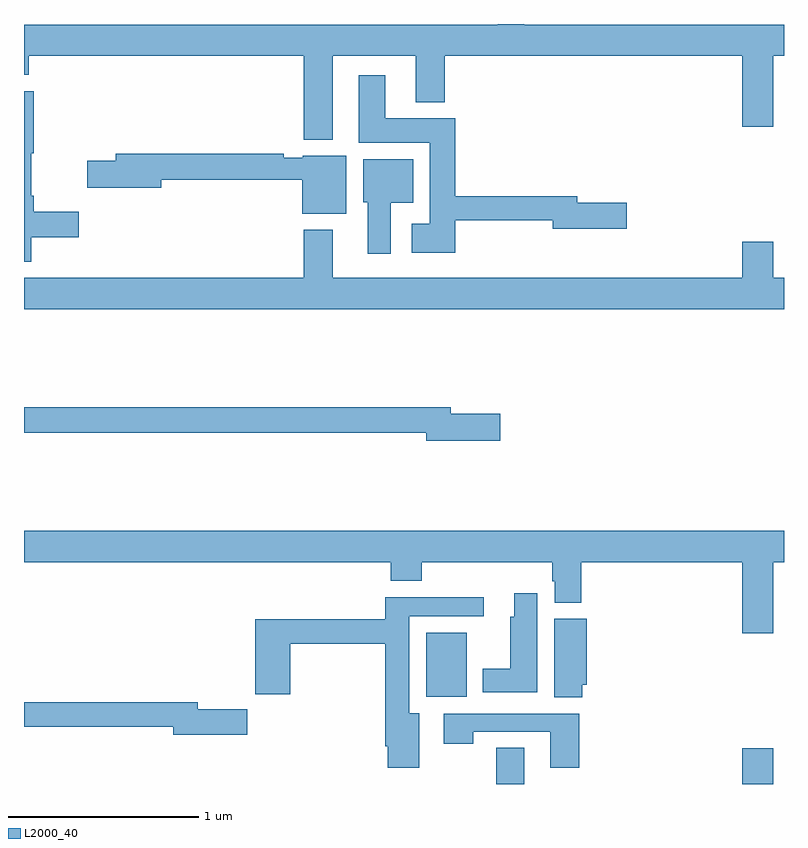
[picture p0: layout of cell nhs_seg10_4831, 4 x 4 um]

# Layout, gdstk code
import gdstk
lib = gdstk.Library(unit=1e-6, precision=1e-09)
def R(c, l, rs):  # rectangles x0, y0, x1, y1
    for r in rs: c.add(gdstk.rectangle(r[:2], r[2:], *l))
def P(c, l, *ps):  # polygons
    for p in ps: c.add(gdstk.Polygon(p, *l))
L2000_40 = (2000, 40)

nhs_seg10_4831 = lib.new_cell('nhs_seg10_4831')
R(nhs_seg10_4831, L2000_40, [(391.486,1280.5,391.633,1280.69), (392.78,1280.5,392.944,1280.689), (391.118,1280.96,391.33,1281.295)])
P(nhs_seg10_4831, L2000_40, [(390.625,1284.332),(391.061,1284.332),(391.061,1284.089),(391.214,1284.089),(391.214,1284.332),(392.78,1284.332),(392.78,1283.958),(392.944,1283.958),(392.944,1284.332),(393,1284.332),(393,1284.496),(391.633,1284.496),(391.633,1284.5),(391.494,1284.5),(391.494,1284.496),(389,1284.496),(389,1284.233),(389.024,1284.233),(389.024,1284.332),(390.473,1284.332),(390.473,1283.891),(390.625,1283.891)],
  [(391.271,1283.466),(391.784,1283.466),(391.784,1283.423),(392.173,1283.423),(392.173,1283.558),(391.912,1283.558),(391.912,1283.594),(391.271,1283.594),(391.271,1284.004),(390.901,1284.004),(390.901,1284.229),(390.761,1284.229),(390.761,1283.876),(391.136,1283.876),(391.136,1283.449),(391.041,1283.449),(391.041,1283.297),(391.271,1283.297)],
  [(389.038,1283.378),(389.287,1283.378),(389.287,1283.513),(389.051,1283.513),(389.051,1283.596),(389.038,1283.596),(389.038,1283.819),(389.051,1283.819),(389.051,1284.146),(389,1284.146),(389,1283.25),(389.038,1283.25)],
  [(390.697,1283.806),(390.468,1283.806),(390.468,1283.796),(390.368,1283.796),(390.368,1283.816),(389.483,1283.816),(389.483,1283.78),(389.334,1283.78),(389.334,1283.638),(389.722,1283.638),(389.722,1283.68),(390.464,1283.68),(390.464,1283.501),(390.697,1283.501)],
  [(390.931,1283.558),(391.048,1283.558),(391.048,1283.788),(390.785,1283.788),(390.785,1283.562),(390.809,1283.562),(390.809,1283.292),(390.931,1283.292)],
  [(393,1283.164),(392.944,1283.164),(392.944,1283.353),(392.78,1283.353),(392.78,1283.164),(390.625,1283.164),(390.625,1283.416),(390.473,1283.416),(390.473,1283.164),(389,1283.164),(389,1283),(393,1283)],
  [(391.507,1282.448),(391.246,1282.448),(391.246,1282.484),(389,1282.484),(389,1282.348),(391.118,1282.348),(391.118,1282.306),(391.507,1282.306)],
  [(392.944,1281.668),(393,1281.668),(393,1281.832),(389,1281.832),(389,1281.668),(390.929,1281.668),(390.929,1281.569),(391.094,1281.569),(391.094,1281.668),(391.781,1281.668),(391.781,1281.567),(391.793,1281.567),(391.793,1281.455),(391.934,1281.455),(391.934,1281.668),(392.78,1281.668),(392.78,1281.294),(392.944,1281.294)],
  [(391.702,1281.505),(391.58,1281.505),(391.58,1281.381),(391.559,1281.381),(391.559,1281.106),(391.415,1281.106),(391.415,1280.984),(391.702,1280.984)],
  [(391.081,1280.872),(391.027,1280.872),(391.027,1281.384),(391.42,1281.384),(391.42,1281.482),(390.902,1281.482),(390.902,1281.367),(390.218,1281.367),(390.218,1280.973),(390.401,1280.973),(390.401,1281.238),(390.902,1281.238),(390.902,1280.698),(390.914,1280.698),(390.914,1280.586),(391.081,1280.586)],
  [(391.937,1281.023),(391.963,1281.023),(391.963,1281.37),(391.79,1281.37),(391.79,1280.956),(391.937,1280.956)],
  [(390.175,1280.894),(389.914,1280.894),(389.914,1280.93),(389,1280.93),(389,1280.802),(389.786,1280.802),(389.786,1280.759),(390.175,1280.759)],
  [(391.922,1280.871),(391.209,1280.871),(391.209,1280.712),(391.365,1280.712),(391.365,1280.775),(391.769,1280.775),(391.769,1280.586),(391.922,1280.586)])

lib.write_gds('nhs_seg10_4831.gds')
